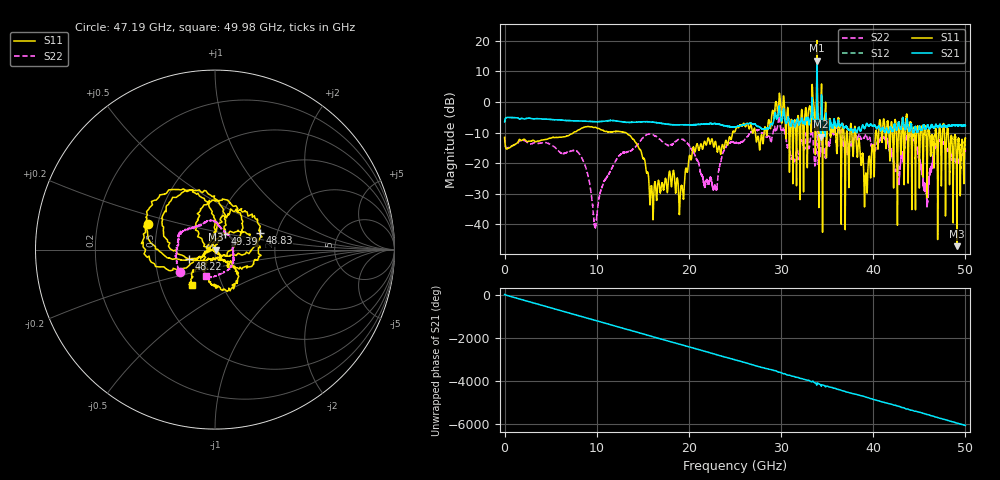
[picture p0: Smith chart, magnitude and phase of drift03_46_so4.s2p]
!Created with skrf (http://scikit-rf.org).
# Hz S RI R 50.0
!freq ReS11 ImS11 ReS21 ImS21 ReS12 ImS12 ReS22 ImS22
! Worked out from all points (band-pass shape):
!   10001 points, 300 kHz to 50 GHz, reference 50 ohm
!   highest |S21| = 13.53 dB at 33.9 GHz (marker M1); lowest = -11.4 dB at 34.32 GHz (marker M2)
!   |S21| within 3 dB of the highest: 33.89014 GHz to 33.90433 GHz (14.19 MHz wide, 0.0419 % of centre)
!   lowest |S11| = -47.2 dB at 49.08 GHz (marker M3), VSWR 1.01, Z = 50.4 - j0.127 ohm
!   |S11| at or under -10 dB: start of sweep to 7.484 GHz; 13.13 GHz to 24.74 GHz (11.61 GHz wide, 61.3 % of centre); 38.09 GHz to 40.25 GHz (2.16 GHz wide, 5.51 % of centre) (the widest 3 of 49)
!   |S22| runs from -41.4 to 6.0 dB; largest |S21 - S12| = 0.35
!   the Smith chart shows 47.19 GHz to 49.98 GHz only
!   S11 on the Smith chart (normalised r, x): 47.19 GHz: 0.44, +0.15; 48.22 GHz: 0.74, -0.08; 48.83 GHz: 1.62, +0.32; 49.39 GHz: 1.10, +0.20; 49.98 GHz: 0.72, -0.30
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300000  -0.2356 -0.1191  0.4666 0.0782  0.4657 0.0789  -0.2354 -0.1242
1.440291e9  0.2099 0.0649  -0.5479 -0.0295  -0.5482 -0.0296  0.2115 -0.00411
2.915283e9  -0.2121 -0.088  0.5344 0.0514  0.5346 0.0516  -0.202 0.0401
4.415274e9  0.206 0.1323  -0.522 -0.0425  -0.5222 -0.0427  0.1986 -0.0869
8.33525e9  0.2888 -0.2334  0.1462 0.4665  0.1456 0.4666  -0.0725 -0.1015
9.845241e9  -0.3639 0.1284  -0.1477 -0.4532  -0.148 -0.4526  0.0087 0.00225
1.66702e10  0.0267 0.0438  -0.3792 0.2538  -0.3796 0.2528  -0.1277 -0.2201
2.500015e10  -0.3266 -0.0157  -0.2545 -0.2977  -0.2526 -0.2994  -0.2111 0.0255
2.895513e10  -0.3257 0.4321  -0.2894 0.3245  -0.2997 0.2898  0.0642 0.2213
3.006512e10  0.4018 0.266  0.4512 -0.195  0.4551 -0.1816  0.1769 -0.296
3.171011e10  -0.0891 0.1875  -0.3609 0.3538  -0.3627 0.3533  0.0648 0.1584
3.33351e10  0.6158 -0.8318  0.2454 -0.8438  0.2493 -0.8278  -0.1925 -0.423
3.38951e10  -2.431 -9.886  -4.685 0.7773  -4.393 0.9639  0.4934 1.929
3.432009e10  -0.7792 -0.00101  -0.1818 0.1986  -0.2427 0.1782  0.144 -0.0728
4.167005e10  -0.2016 0.3016  0.3152 0.00528  0.3137 0.0102  -0.1928 -0.0144
4.718502e10  -0.371 0.1427  0.2678 0.3188  0.2655 0.318  -0.1952 -0.1259
4.822001e10  -0.1442 -0.0521  0.1297 -0.3895  0.1336 -0.3928  -0.0245 0.1627
4.882501e10  0.248 0.0904  -0.3559 -0.2175  -0.3546 -0.2164  0.0988 0.053
4.907501e10  0.00418 -0.00126  -0.4204 -0.0166  -0.4189 -0.0198  0.0967 0.0145
4.939e10  0.0564 0.0893  -0.3413 0.2396  -0.3407 0.2383  0.1002 -0.0614
4.998e10  -0.1304 -0.1983  0.1195 0.3956  0.1203 0.3959  -0.0521 -0.1498
5e10  -0.1199 -0.2254  0.1439 0.3863  0.139 0.3868  -0.0545 -0.1472
